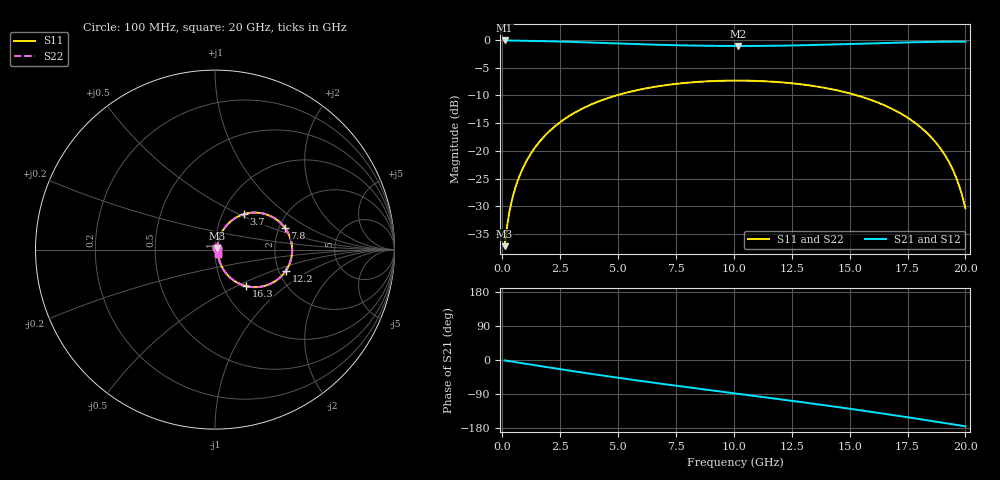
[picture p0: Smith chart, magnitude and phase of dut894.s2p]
! Touchstone file exported from HFSS 2026.1.0
!  File:  C:/ffzhzh/LocalFiles/Ansys_Project_Files/temp_train_TSV_RDL_894_1783275426_30076.aedt
!  Generated:  02:26:53 AM Jul  6, 2026
!  Design:  TSV_RDL
!  Project:  temp_train_TSV_RDL_894_1783275426_30076
! Variables:
!  h_bsmrdl = 3.08um
!  h_ox = 20um
!  h_rdl = 5um
!  h_sub = 57.69um
!  h_tmrdl = 3.96um
!  h_tsv = 57.69um
!  h_via = 3um
!  l_bsmrdl = 663.24um
!  l_sub = 3076.56um
!  l_tmrdl = 128.63um
!  m_sub = 200um
!  pitch = 52.29um
!  r_tsv = 14.72um
!  s_tmrdl = 10um
!  w_bsmrdl = 27.96um
!  w_sub = 500um
!  w_tmrdl = 29.48um
!  x_tsv_center1 = 143.37um
!  x_tsv_center2 = 834.57um
!  x_tsv_center3 = 992.68um
!  x_tsv_center4 = 1683.88um
!  x_tsv_center5 = 1841.99um
!  x_tsv_center6 = 2533.19um
# GHz S MA R 50.000000
! Terminal data exported
! Port[1] = TM_RDL1_1_T1
! Port[2] = TM_RDL5_1_T1
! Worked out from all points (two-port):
!   200 points, 100 MHz to 20 GHz, reference 50 ohm
!   highest |S21| = -0.09 dB at 100 MHz (marker M1); lowest = -1.1 dB at 10.2 GHz (marker M2)
!   |S21| within 3 dB of the highest: start of sweep to end of sweep
!   lowest |S11| = -37.2 dB at 100 MHz (marker M3), VSWR 1.03, Z = 51.1 + j0.865 ohm
!   |S11| at or under -10 dB: start of sweep to 4.933 GHz; 15.32 GHz to end of sweep
!   |S22| runs from -37.2 to -7.3 dB; largest |S21 - S12| = 5.9e-13
!   S11 on the Smith chart (normalised r, x): 100 MHz: 1.02, +0.02; 3.7 GHz: 1.26, +0.53; 7.8 GHz: 2.15, +0.63; 12.2 GHz: 2.19, -0.62; 16.3 GHz: 1.28, -0.56; 20 GHz: 1.03, -0.05
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0.1  0.01382 37.8  0.9892 -1.0  0.9892 -1.0  0.01382 37.8
! Gamma 0 0 0 0
! Port Impedance 50 0 50 0
0.3  0.02763 60.8  0.9876 -3.1  0.9876 -3.1  0.02763 60.8
0.5  0.04196 66.5  0.9859 -5.0  0.9859 -5.0  0.04196 66.5
0.8  0.06337 69.2  0.9837 -7.9  0.9837 -7.9  0.06337 69.2
1.1  0.08484 69.2  0.9816 -10.9  0.9816 -10.9  0.08484 69.2
2.1  0.1548 63.8  0.9722 -20.4  0.9722 -20.4  0.1548 63.8
3.5  0.2428 52.5  0.9531 -33.5  0.9531 -33.5  0.2428 52.5
3.7  0.2541 50.9  0.95 -35.3  0.95 -35.3  0.2541 50.9
5.2  0.3279 38.3  0.9263 -48.6  0.9263 -48.6  0.3279 38.3
6.8  0.3841 25.3  0.9038 -62.1  0.9038 -62.1  0.3841 25.3
7.8  0.4077 17.4  0.8932 -70.3  0.8932 -70.3  0.4077 17.4
10.1  0.43 -0.3  0.882 -88.5  0.882 -88.5  0.43 -0.3
10.2  0.43 -1.1  0.882 -89.3  0.882 -89.3  0.43 -1.1
12.2  0.4122 -16.5  0.889 -105.2  0.889 -105.2  0.4122 -16.5
13.4  0.3854 -25.9  0.8996 -115.0  0.8996 -115.0  0.3854 -25.9
16.3  0.2685 -49.3  0.9359 -140.1  0.9359 -140.1  0.2685 -49.3
16.7  0.2467 -52.6  0.941 -143.7  0.941 -143.7  0.2467 -52.6
18  0.1674 -62.7  0.9553 -155.8  0.9553 -155.8  0.1674 -62.7
18.9  0.1066 -68.1  0.962 -164.4  0.962 -164.4  0.1066 -68.1
19.5  0.06447 -68.3  0.9645 -170.1  0.9645 -170.1  0.06446 -68.3
19.8  0.04359 -64.4  0.965 -173.0  0.965 -173.0  0.04358 -64.3
20  0.03032 -56.6  0.9652 -175.0  0.9652 -175.0  0.03032 -56.5
